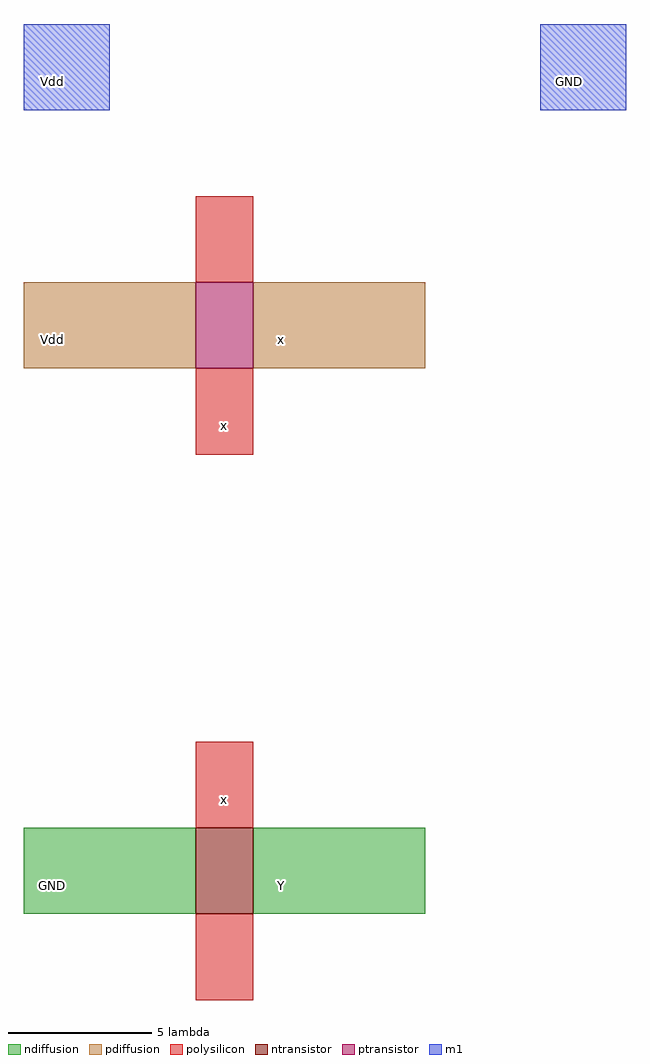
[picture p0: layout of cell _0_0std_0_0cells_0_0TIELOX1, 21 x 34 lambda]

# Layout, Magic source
magic
tech TSMC180
<< ndiffusion >>
rect 6 9 12 12
rect 14 9 20 12
<< ntransistor >>
rect 12 9 14 12
<< pdiffusion >>
rect 6 28 12 31
rect 14 28 20 31
<< ptransistor >>
rect 12 28 14 31
<< polysilicon >>
rect 12 31 14 34
rect 12 25 14 28
rect 12 12 14 15
rect 12 6 14 9
<< m1 >>
rect 6 37 9 40
rect 24 37 27 40
<< labels >>
rlabel ndiffusion 15 10 15 10 3 Y
rlabel pdiffusion 15 29 15 29 3 x
rlabel polysilicon 13 13 13 13 3 x
rlabel polysilicon 13 26 13 26 3 x
rlabel ndiffusion 7 10 7 10 3 GND
rlabel pdiffusion 7 29 7 29 3 Vdd
rlabel m1 25 38 25 38 3 GND
port 1 e
rlabel m1 7 38 7 38 3 Vdd
port 3 e
<< end >>
